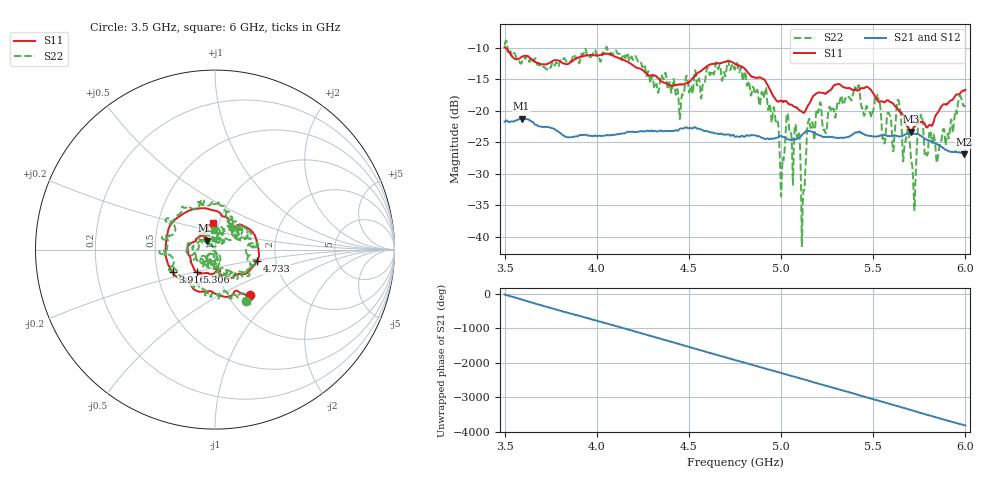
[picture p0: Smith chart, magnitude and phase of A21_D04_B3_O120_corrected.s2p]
! Created with skrf 1.9.0 (http://scikit-rf.org).
# Hz S RI R 50.0
!freq ReS11 ImS11 ReS21 ImS21 ReS12 ImS12 ReS22 ImS22
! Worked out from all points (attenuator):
!   1601 points, 3.5 GHz to 6 GHz, reference 50 ohm
!   highest |S21| = -21.24 dB at 3.592 GHz (marker M1); lowest = -26.9 dB at 5.994 GHz (marker M2)
!   lowest |S11| = -23.3 dB at 5.705 GHz (marker M3), VSWR 1.15, Z = 45.3 + j4.49 ohm
!   |S11| at or under -10 dB: 3.503 GHz to end of sweep
!   |S22| runs from -41.5 to -8.8 dB; largest |S21 - S12| = 0.001
!   S11 on the Smith chart (normalised r, x): 3.5 GHz: 1.26, -0.71; 3.916 GHz: 0.60, -0.16; 4.733 GHz: 1.60, -0.21; 5.306 GHz: 0.79, -0.21; 6 GHz: 0.94, +0.28
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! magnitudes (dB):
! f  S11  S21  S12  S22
! 3.5 GHz  -9.9  -21.7  -21.7  -9.6
! 3.592 GHz  -11.5  -21.2  -21.3  -12.4
! 3.916 GHz  -11.4  -23.9  -23.8  -11.1
! 3.917 GHz  -11.4  -23.9  -23.8  -11.0
! 4.334 GHz  -14.9  -23.3  -23.2  -17.1
! 4.733 GHz  -12.3  -23.9  -23.9  -12.8
! 4.75 GHz  -12.6  -24.1  -24.1  -13.4
! 4.912 GHz  -15.2  -24.5  -24.4  -16.7
! 5.005 GHz  -18.4  -24.1  -24.0  -29.9
! 5.034 GHz  -18.7  -24.5  -24.4  -20.4
! 5.088 GHz  -19.6  -24.5  -24.4  -24.1
! 5.119 GHz  -20.3  -23.7  -23.6  -33.7
! 5.167 GHz  -18.0  -23.3  -23.3  -21.9
! 5.306 GHz  -15.8  -24.3  -24.2  -18.7
! 5.584 GHz  -18.5  -24.0  -24.0  -20.3
! 5.639 GHz  -20.0  -24.1  -24.0  -18.5
! 5.705 GHz  -23.3  -23.7  -23.6  -27.6
! 5.723 GHz  -22.5  -23.7  -23.6  -35.8
! 5.756 GHz  -21.8  -24.0  -23.9  -21.1
! 5.848 GHz  -20.4  -25.4  -25.3  -27.9
! 5.994 GHz  -16.8  -26.9  -26.8  -19.2
! 6 GHz  -16.7  -26.9  -26.8  -19.4
